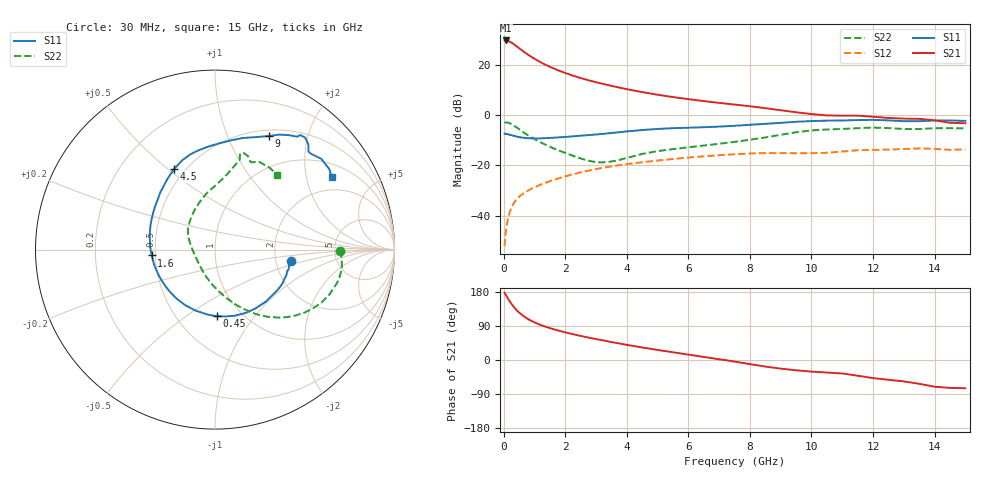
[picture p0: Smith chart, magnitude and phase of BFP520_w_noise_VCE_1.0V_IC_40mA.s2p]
! Infineon Technologies  Discrete & RF Semiconductors
! BFP520
! VCE =  1.0 V,  IC =  40 mA
! Common Emitter S-Parameters:  Oct 2015
# GHz  S  MA  R  50
!  f  S11  S21  S12  S22
! GHz  MAG  ANG  MAG  ANG  MAG  ANG  MAG  ANG
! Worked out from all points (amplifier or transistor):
!   109 points, 30 MHz to 15 GHz, reference 50 ohm
!   highest |S21| = 29.6 dB at 70 MHz (marker M1)
!   |S21| within 3 dB of that: start of sweep to 493.7 MHz
!   unconditionally stable (mu >= 1): start of sweep to 106.2 MHz; 1.162 GHz to end of sweep
!   at 450 MHz: K = 0.68, MSG = 30.0 dB, |S12| = -33.1 dB
!   at 4 GHz: K = 1.32, MAG = 11.5 dB, |S12| = -19.5 dB
!   at 15 GHz: K = 1.44, MAG = 1.2 dB, |S12| = -13.6 dB
!   lowest NFmin = 2.88 dB at 900 MHz
!   S11 on the Smith chart (normalised r, x): 30 MHz: 2.43, -0.36; 450 MHz: 0.77, -0.66; 1.6 GHz: 0.48, -0.04; 4.5 GHz: 0.44, +0.53; 9 GHz: 0.57, +1.42; 15 GHz: 1.46, +2.84
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0.03  0.428 -8.2  30.12 177.2  0.0025 107.3  0.6965 -0.5
0.07  0.4195 -17.1  30.17 171.5  0.0048 88.8  0.7104 -5.9
0.15  0.4118 -35.2  29.22 160.7  0.0094 80.8  0.7033 -15.7
0.2  0.4056 -45.4  28.39 154.4  0.012 76.6  0.6855 -21.2
0.25  0.398 -55.4  27.34 148.5  0.0144 73.5  0.6621 -26.5
0.35  0.3849 -73.2  24.85 137.9  0.0186 68.4  0.6067 -35.6
0.45  0.371 -88.6  22.39 129.1  0.0222 64.8  0.5513 -43.0
0.6  0.3568 -107.7  19.11 118.5  0.0268 61.4  0.4742 -52.1
0.7  0.3512 -118.3  17.23 112.7  0.0294 59.8  0.4308 -57.0
0.9  0.3447 -135.8  14.26 103.3  0.0344 58.1  0.3609 -65.0
1.2  0.3443 -155.3  11.15 92.5  0.0415 56.5  0.2866 -75.1
1.6  0.3543 -174.7  8.504 81.7  0.051 54.7  0.2206 -87.6
2  0.3676 170.9  6.828 73.0  0.0607 52.4  0.1767 -100.5
2.6  0.3931 153.7  5.204 61.7  0.0752 48.2  0.132 -124.2
3.5  0.4409 133.7  3.783 47.2  0.0959 40.3  0.1198 -171.6
4.5  0.504 116.8  2.849 33.0  0.1159 31.1  0.1694 152.6
5.1  0.5331 109.0  2.473 25.3  0.1268 25.9  0.196 139.3
7.6  0.6172 81.1  1.59 -5.5  0.1679 2.2  0.299 102.6
9  0.6998 64.7  1.245 -22.8  0.1753 -12.2  0.4049 82.8
10.5  0.7731 54.7  0.982 -33.1  0.1783 -19.8  0.5163 74.6
13  0.7541 46.4  0.849 -56.5  0.2116 -40.7  0.5267 67.9
15  0.7652 31.7  0.687 -74.5  0.2088 -56.9  0.542 50.1
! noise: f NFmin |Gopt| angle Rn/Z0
0.45  2.9  0.12  -150  0.28
0.9  2.88  0.14  -145  0.32
1.9  3.01  0.21  -123  0.34
2.4  3  0.21  -121  0.33
3.5  2.96  0.21  -107  0.37
